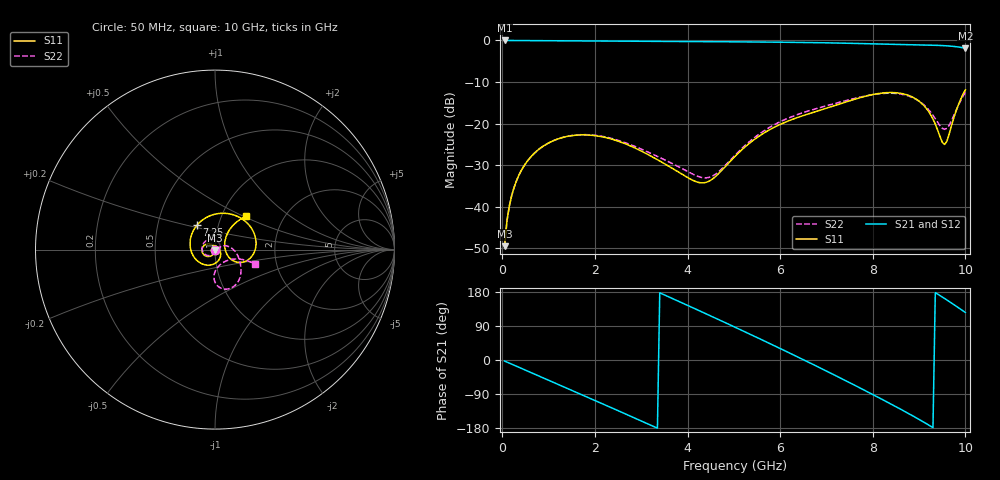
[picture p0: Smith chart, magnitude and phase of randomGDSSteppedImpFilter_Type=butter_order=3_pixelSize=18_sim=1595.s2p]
! freq	dB(S11)	phase(S11)	dB(S12)	phase(S12)
!  dB(S21)	phase(S21)	dB(S22)	phase(S22)
!S-par simulation data
#  GHz  S  DB  R 50
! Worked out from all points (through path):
!   200 points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, 50 MHz to 10 GHz, reference 50 ohm
!   highest |S21| = -0.01 dB at 50 MHz (marker M1); lowest = -1.9 dB at 10 GHz (marker M2)
!   group delay of S21, straight-line fit = 161 ps
!   lowest |S11| = -49.5 dB at 50 MHz (marker M3), VSWR 1.01, Z = 50 - j0.334 ohm
!   |S11| at or under -10 dB: start of sweep to end of sweep
!   |S22| runs from -49.5 to -12.5 dB; largest |S21 - S12| = 0
!   S11 on the Smith chart (normalised r, x): 50 MHz: 1.00, -0.01; 7.25 GHz: 0.79, +0.22; 10 GHz: 1.31, +0.52
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0.05  -49.52 -90.9  -0.01 -2.7  -0.01 -2.7  -49.53 -91.4
0.1  -43.50 -93.9  -0.01 -5.4  -0.01 -5.4  -43.50 -94.8
0.2  -37.46 -99.0  -0.02 -10.8  -0.02 -10.8  -37.48 -100.8
0.5  -29.68 -114.3  -0.04 -26.8  -0.04 -26.8  -29.70 -118.9
1.15  -23.92 -146.8  -0.09 -61.4  -0.09 -61.4  -23.91 -158.4
1.75  -22.74 -174.7  -0.13 -93.4  -0.13 -93.4  -22.68 164.3
2.2  -23.30 166.1  -0.15 -117.5  -0.15 -117.5  -23.18 134.7
2.65  -24.86 148.8  -0.18 -141.8  -0.18 -141.8  -24.59 102.5
3.4  -29.02 124.0  -0.23 177.3  -0.23 177.3  -28.18 44.2
3.85  -31.99 102.9  -0.26 152.5  -0.26 152.5  -30.66 15.1
4.35  -34.27 48.3  -0.29 124.7  -0.29 124.7  -33.06 10.5
5.05  -27.64 -40.2  -0.34 85.2  -0.34 85.2  -27.34 27.0
5.5  -23.39 -77.6  -0.37 59.4  -0.37 59.4  -22.92 15.7
5.95  -20.47 -113.7  -0.42 33.3  -0.42 33.3  -19.84 0.5
6.35  -18.65 -147.9  -0.47 9.8  -0.47 9.8  -17.94 -12.4
6.7  -17.37 179.9  -0.52 -11.1  -0.52 -11.1  -16.67 -22.3
7.25  -15.44 126.2  -0.63 -44.4  -0.63 -44.4  -14.98 -35.7
7.8  -13.55 74.1  -0.78 -78.5  -0.78 -78.5  -13.47 -49.8
8.35  -12.55 27.3  -0.95 -113.4  -0.95 -113.4  -12.70 -67.4
9.05  -15.10 -22.8  -1.10 -160.3  -1.10 -160.3  -15.03 -90.5
9.55  -25.06 9.7  -1.26 162.4  -1.26 162.4  -21.41 -59.1
10  -11.89 46.8  -1.85 125.4  -1.85 125.4  -12.50 -20.1
